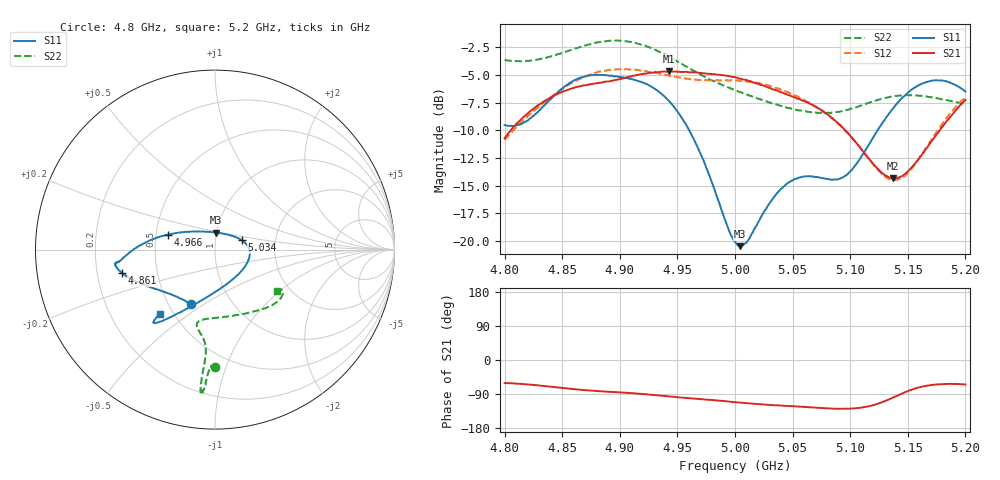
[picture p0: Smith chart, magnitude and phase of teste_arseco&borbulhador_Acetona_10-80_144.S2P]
! Network Analyzer HP8722D
! Hewlett-Packard
! Data name: Linha & Wilkinson
! Saver's name: Rodrigo Anjos
! Comments: Teste da utilização de aquisição
! continua pelo VNA HP8722D
! Time and date: 17/4/2025 15:33
!  Frequency  S11  S21  S12  S22
# HZ  S  MA R 50
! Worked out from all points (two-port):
!   401 points, 4.8 GHz to 5.2 GHz, reference 50 ohm
!   highest |S21| = -4.69 dB at 4.943 GHz (marker M1); lowest = -14.4 dB at 5.137 GHz (marker M2)
!   |S21| within 3 dB of the highest: 4.83 GHz to 5.067 GHz (236.6 MHz wide, 4.78 % of centre); 5.19601 GHz to end of sweep
!   lowest |S11| = -20.5 dB at 5.004 GHz (marker M3), VSWR 1.21, Z = 49.8 + j9.49 ohm
!   |S11| at or under -10 dB: 4.96 GHz to 5.124 GHz (163.6 MHz wide, 3.24 % of centre)
!   |S22| runs from -8.5 to -1.9 dB; largest |S21 - S12| = 0.87
!   S11 on the Smith chart (normalised r, x): 4.8 GHz: 0.64, -0.44; 4.861 GHz: 0.31, -0.11; 4.966 GHz: 0.58, +0.10; 5.034 GHz: 1.34, +0.14; 5.2 GHz: 0.42, -0.39
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4.8e9  0.3336 -113.7  0.2914 -61.0  0.2858 -175.0  0.6566 -90.1
4.819e9  0.3481 -133.7  0.3723 -64.2  0.3609 -173.9  0.6502 -91.7
4.861e9  0.5336 -165.7  0.4935 -77.2  0.5253 -177.0  0.7378 -93.9
4.867e9  0.5491 -168.1  0.501 -78.8  0.5439 -178.1  0.7562 -94.1
4.9e9  0.5506 -172.5  0.5386 -85.4  0.5965 175.5  0.8013 -95.5
4.934e9  0.4718 -178.4  0.5789 -93.8  0.5716 171.8  0.7159 -95.9
4.943e9  0.4268 177.5  0.583 -96.2  0.5571 171.6  0.6774 -95.7
4.966e9  0.276 162.5  0.5757 -102.2  0.5344 173.7  0.5793 -95.2
5e9  0.09896 99.9  0.549 -111.2  0.5307 176.0  0.4787 -99.3
5.004e9  0.09468 85.6  0.5411 -112.2  0.5285 175.9  0.4716 -100.1
5.011e9  0.1003 61.7  0.5309 -114.2  0.5242 175.8  0.4576 -101.7
5.034e9  0.1584 19.2  0.4816 -119.2  0.4937 174.6  0.4159 -103.4
5.05e9  0.1878 3.1  0.4491 -122.0  0.4583 174.0  0.3958 -99.4
5.067e9  0.1956 -15.1  0.4123 -125.0  0.4138 173.7  0.3816 -90.4
5.086e9  0.1895 -45.1  0.3523 -128.3  0.3522 173.7  0.3807 -76.1
5.097e9  0.1985 -67.6  0.3102 -128.7  0.3102 174.8  0.3903 -67.1
5.134e9  0.3778 -116.9  0.1933 -103.5  0.19 -156.4  0.4467 -43.0
5.137e9  0.3958 -118.8  0.1915 -99.4  0.1885 -151.7  0.4498 -41.7
5.15e9  0.4672 -124.6  0.2062 -81.9  0.2026 -131.6  0.4554 -36.8
5.17e9  0.5283 -129.2  0.2786 -66.1  0.2835 -112.4  0.4464 -32.1
5.184e9  0.5245 -130.5  0.3496 -63.1  0.3608 -107.3  0.4323 -31.1
5.2e9  0.4726 -130.8  0.4336 -64.6  0.4451 -106.6  0.4151 -33.5
